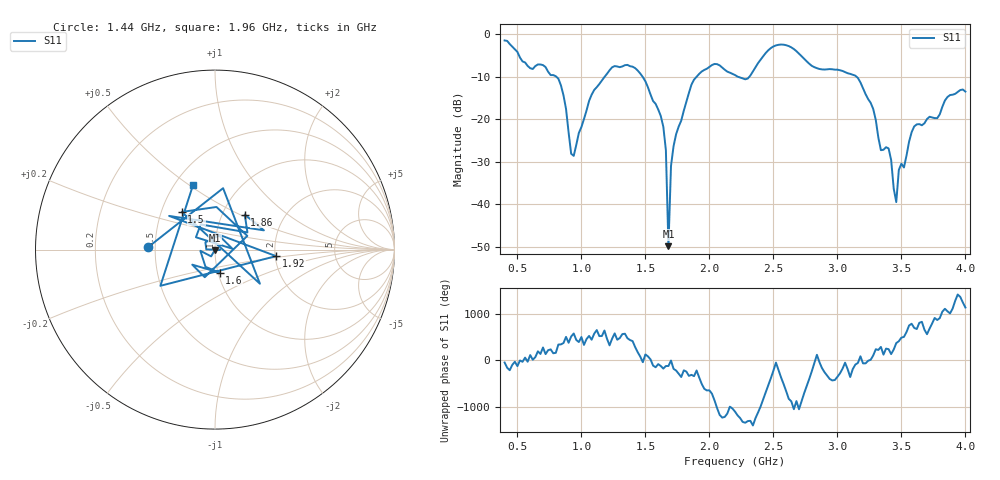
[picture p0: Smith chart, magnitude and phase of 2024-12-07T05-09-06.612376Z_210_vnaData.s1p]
!Created with skrf (http://scikit-rf.org).
# Hz S RI R 50.0
!freq ReS11 ImS11
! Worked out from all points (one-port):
!   181 points, 400 MHz to 4 GHz, reference 50 ohm
!   lowest |S11| = -49.8 dB at 1.68 GHz (marker M1), VSWR 1.01, Z = 49.8 - j0.282 ohm
!   |S11| at or under -10 dB: 804.6 MHz to 1.181 GHz (376.8 MHz wide, 37.9 % of centre); 1.479 GHz to 1.899 GHz (420.6 MHz wide, 24.9 % of centre); 3.15 GHz to end of sweep (the widest 3 of 4)
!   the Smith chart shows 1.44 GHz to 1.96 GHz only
!   S11 on the Smith chart (normalised r, x): 1.44 GHz: 0.46, +0.01; 1.5 GHz: 0.64, +0.29; 1.6 GHz: 1.02, -0.27; 1.86 GHz: 1.27, +0.53; 1.92 GHz: 2.02, -0.17; 1.96 GHz: 0.62, +0.52
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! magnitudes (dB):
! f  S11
! 400 MHz  -1.5
! 800 MHz  -9.9
! 860 MHz  -14.4
! 920 MHz  -28.1
! 940 MHz  -28.6
! 1.08 GHz  -14.2
! 1.3 GHz  -7.7
! 1.44 GHz  -8.5
! 1.5 GHz  -11.1
! 1.6 GHz  -17.7
! 1.66 GHz  -27.2
! 1.68 GHz  -49.8
! 1.7 GHz  -31.0
! 1.76 GHz  -21.7
! 1.86 GHz  -11.8
! 1.92 GHz  -9.3
! 1.96 GHz  -8.4
! 2.2 GHz  -9.6
! 2.66 GHz  -3.5
! 3.1 GHz  -9.3
! 3.28 GHz  -17.6
! 3.34 GHz  -27.3
! 3.4 GHz  -26.8
! 3.46 GHz  -39.5
! 3.48 GHz  -31.9
! 3.52 GHz  -31.3
! 3.56 GHz  -25.2
! 4 GHz  -13.5
